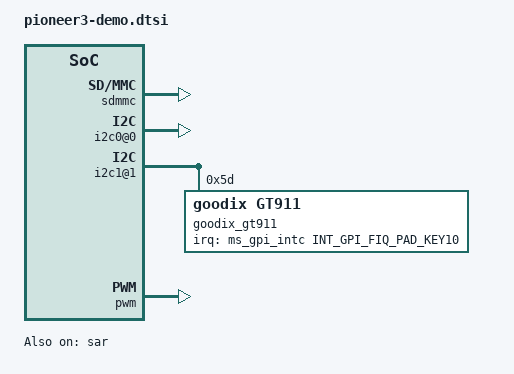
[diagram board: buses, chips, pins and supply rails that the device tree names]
/*
* pioneer3.dtsi- Sigmastar
*
* Copyright (c) [2019~2020] SigmaStar Technology.
*
*
* This software is licensed under the terms of the GNU General Public
* License version 2, as published by the Free Software Foundation, and
* may be copied, distributed, and modified under those terms.
*
* This program is distributed in the hope that it will be useful,
* but WITHOUT ANY WARRANTY; without even the implied warranty of
* MERCHANTABILITY or FITNESS FOR A PARTICULAR PURPOSE.  See the
* GNU General Public License version 2 for more details.
*
*/

#include <../../../../drivers/sstar/include/pioneer3/irqs.h>
#include <../../../../drivers/sstar/include/pioneer3/gpio.h>
#include <../../../../drivers/sstar/include/vcore_defs.h>
#include <dt-bindings/interrupt-controller/irq.h>
#include <dt-bindings/interrupt-controller/arm-gic.h>
#include "skeleton.dtsi"
#include <../../../../include/generated/autoconf.h>
#ifdef CONFIG_CAM_CLK
#include <../../../../drivers/sstar/include/pioneer3/camclk.h>
#endif

/ {
   /* add demo board customer setting here */
   soc {
        sdmmc {
            compatible = "sstar,sdmmc";

            slotnum = <1>;
            revcdz = <0>;

            slot-ip-orders = <0>,<1>,<2>; // 0:IP_SDIO
            slot-pad-orders = <0>,<1>,<2>; // 0:PAD_SD 1:PAD_GPIO
            slot-max-clks = <48000000>,<48000000>,<48000000>;
            slot-intcdzs = <1>,<1>,<1>;
            slot-fakecdzs = <0>,<0>,<0>;
            slot-cdzs-gpios = <PAD_PM_SD_CDZ>,<0>,<0>;
            slot-pwr-gpios = <PAD_SD_GPIO0>,<0>,<0>; // ssc010a:PAD_TTL0 P2_ssc011a: PAD_GPIO0
            slot-en-pwr-high-valid = <1>,<0>,<0>; //gpio output (1/0), power on.
            slot-pwr-off-delay = <30>,<30>,<30>;
            slot-pwr-on-delay = <1>,<1>,<1>;
            slot-sdio-use = <0>,<0>,<0>;
            slot-removable = <1>,<1>,<1>;

            interrupts-extended = <&ms_main_intc GIC_SPI INT_IRQ_SDIO IRQ_TYPE_LEVEL_HIGH>,     // No need to change.
                                 <&ms_main_intc GIC_SPI INT_IRQ_SDIO IRQ_TYPE_LEVEL_HIGH>,      // No need to change.
                                 <&ms_main_intc GIC_SPI INT_FIQ_SD_CDZ IRQ_TYPE_LEVEL_HIGH>,    // CDZ int for Slot 0, default is for PAD_PM_SD_CDZ
                                 //<&ms_gpi_intc 42>,                                             // CDZ int for Slot 1, None.
                                 <&ms_main_intc GIC_SPI INT_FIQ_SD_CDZ IRQ_TYPE_LEVEL_HIGH>;    // CDZ int for Slot 2, None.
            interrupt-names = "mie0_irq", "mie1_irq", "cdz_slot0_irq", "cdz_slot1_irq", "cdz_slot2_irq"; // No need to change.
            clocks = <&CLK_sdio>,<&CLK_VOID>,<&CLK_VOID>; // No need to change.

#ifdef CONFIG_CAM_CLK
            camclk = <CAMCLK_sdio CAMCLK_VOID CAMCLK_VOID>;
#endif
            status = "ok";
        };

        i2c0@0{
            compatible = "sstar,i2c";
            reg = <0x1F223000 0x200>,<0x1F207800 0x200>,<0x1F207000 0x200>;
                #address-cells = <1>;
                #size-cells = <0>;
            clocks = <&CLK_miic0>;
            i2c-group = <0>;
            status = "ok";
            /*
             * padmux: 1 -> PAD_I2C0_SCL, PAD_I2C0_SDA
             *         2 -> PAD_PWM0,     PAD_PWM1
             *         3 -> PAD_SR_IO00,  PAD_SR_IO01
             *         4 -> PAD_SR_IO04,  PAD_SR_IO05
             *         5 -> PAD_SR_IO06,  PAD_SR_IO07
             *         6 -> PAD_SR_IO08,  PAD_SR_IO011
             *         7 -> PAD_SR_IO014, PAD_SR_IO015
             *         8 -> PAD_TTL8,     PAD_TTL11
             *         9 -> PAD_TTL18,    PAD_TTL19
             *         10 -> PAD_KEY6,    PAD_KEY7
             *         11 -> PAD_KEY12,   PAD_KEY13
             *         12 -> PAD_GPIO1,   PAD_GPIO2
            */
            i2c-padmux = <12>;
        };

        i2c1@1{
            compatible = "sstar,i2c";
            reg = <0x1F223200 0x200>,<0x1F207800 0x200>,<0x1F207000 0x200>;
                #address-cells = <1>;
                #size-cells = <0>;
            clocks = <&CLK_miic1>;
            i2c-group = <1>;
            /*
             * padmux: 1 -> PAD_I2C1_SCL, PAD_I2C1_SDA
             *         2 -> PAD_PWM0, PAD_PWM1
             *         3 -> PAD_SR_IO00, PAD_SR_IO01
             *         8 -> PAD_KEY8 PAD_KEY9 
            */
            i2c-padmux = <8>;
            status = "ok";
            goodix_gt911@5D{
                compatible = "goodix,gt911";
                reg = <0x5D>;
                goodix_rst = <PAD_KEY11>;
                goodix_int = <PAD_KEY10>;
                interrupts-extended = <&ms_gpi_intc INT_GPI_FIQ_PAD_KEY10>;
                interrupt-names = "goodix_int";
            };
        };

        sar: sar {
            compatible = "sstar,infinity-sar";
            reg = <0x1F002800 0x200>;
            clocks = <&CLK_sar>;
#ifdef CONFIG_CAM_CLK
      camclk = <CAMCLK_sar >;
#endif
            status = "ok";
        };

        pwm {
            compatible = "sstar,infinity-pwm";
            reg = <0x1F003400 0x600>;
            clocks = <&CLK_xtali_12m>;
#ifdef CONFIG_CAM_CLK
      camclk = <CAMCLK_xtali_12m >;
#endif
            npwm = <4>;
            /*set in padmux.dtsi*/
            pad-ctrl = <PAD_SR_IO08 PAD_UNKNOWN PAD_UNKNOWN PAD_UNKNOWN>;
            status = "ok";  // no available pads
        };
    };


};


